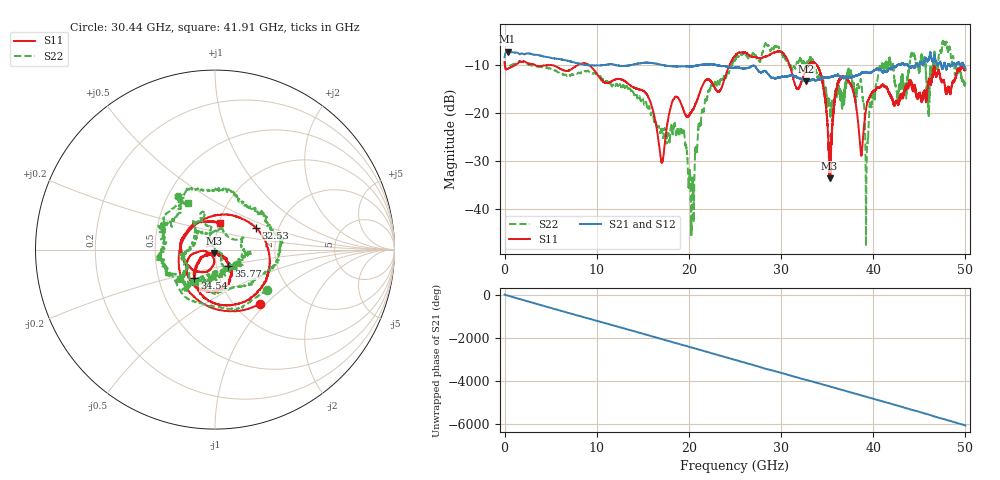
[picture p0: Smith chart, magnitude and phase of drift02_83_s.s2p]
!Created with skrf (http://scikit-rf.org).
# Hz S RI R 50.0
!freq ReS11 ImS11 ReS21 ImS21 ReS12 ImS12 ReS22 ImS22
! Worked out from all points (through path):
!   10001 points, 300 kHz to 50 GHz, reference 50 ohm
!   highest |S21| = -7.32 dB at 320.3 MHz (marker M1); lowest = -13.4 dB at 32.73 GHz (marker M2)
!   group delay of S21, straight-line fit = 335 ps
!   lowest |S11| = -33.7 dB at 35.26 GHz (marker M3), VSWR 1.04, Z = 49.5 - j2 ohm
!   |S11| at or under -10 dB: 3.231 GHz to 8.006 GHz (4.775 GHz wide, 85 % of centre); 9.107 GHz to 24.42 GHz (15.31 GHz wide, 91.3 % of centre); 33.85 GHz to end of sweep (the widest 3 of 9)
!   |S22| runs from -47.8 to -4.9 dB; largest |S21 - S12| = 0.014
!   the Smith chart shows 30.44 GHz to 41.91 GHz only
!   S11 on the Smith chart (normalised r, x): 30.44 GHz: 1.30, -0.92; 32.53 GHz: 1.53, +0.40; 34.54 GHz: 0.76, -0.25; 35.77 GHz: 1.14, -0.21; 41.91 GHz: 1.01, +0.30
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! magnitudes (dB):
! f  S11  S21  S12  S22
! 300 kHz  -9.4  -8.4  -8.4  -9.4
! 320.3 MHz  -10.9  -7.3  -7.3  -10.6
! 8.335 GHz  -9.7  -9.9  -9.9  -11.6
! 16.67 GHz  -25.5  -9.9  -9.9  -22.8
! 19.31 GHz  -18.9  -10.4  -10.4  -24.5
! 20.37 GHz  -19.5  -10.3  -10.3  -34.4
! 21.94 GHz  -13.1  -9.9  -9.9  -17.4
! 25 GHz  -8.2  -10.6  -10.6  -9.0
! 30.44 GHz  -8.1  -12.5  -12.4  -8.6
! 32.53 GHz  -11.7  -13.1  -13.3  -9.8
! 32.73 GHz  -10.9  -13.4  -13.5  -9.9
! 33.34 GHz  -9.5  -13.1  -13.2  -9.0
! 34.54 GHz  -14.1  -12.7  -12.7  -12.7
! 35.26 GHz  -33.7  -12.6  -12.6  -18.1
! 35.77 GHz  -18.5  -12.3  -12.3  -18.0
! 37.24 GHz  -13.3  -12.6  -12.5  -11.6
! 38.54 GHz  -25.8  -12.0  -12.0  -14.1
! 39.32 GHz  -18.2  -11.6  -11.6  -28.2
! 41.67 GHz  -15.8  -10.9  -11.1  -9.8
! 41.91 GHz  -16.6  -10.9  -10.8  -10.4
! 47.77 GHz  -14.3  -9.8  -9.7  -5.6
! 50 GHz  -11.1  -10.8  -10.8  -13.8
